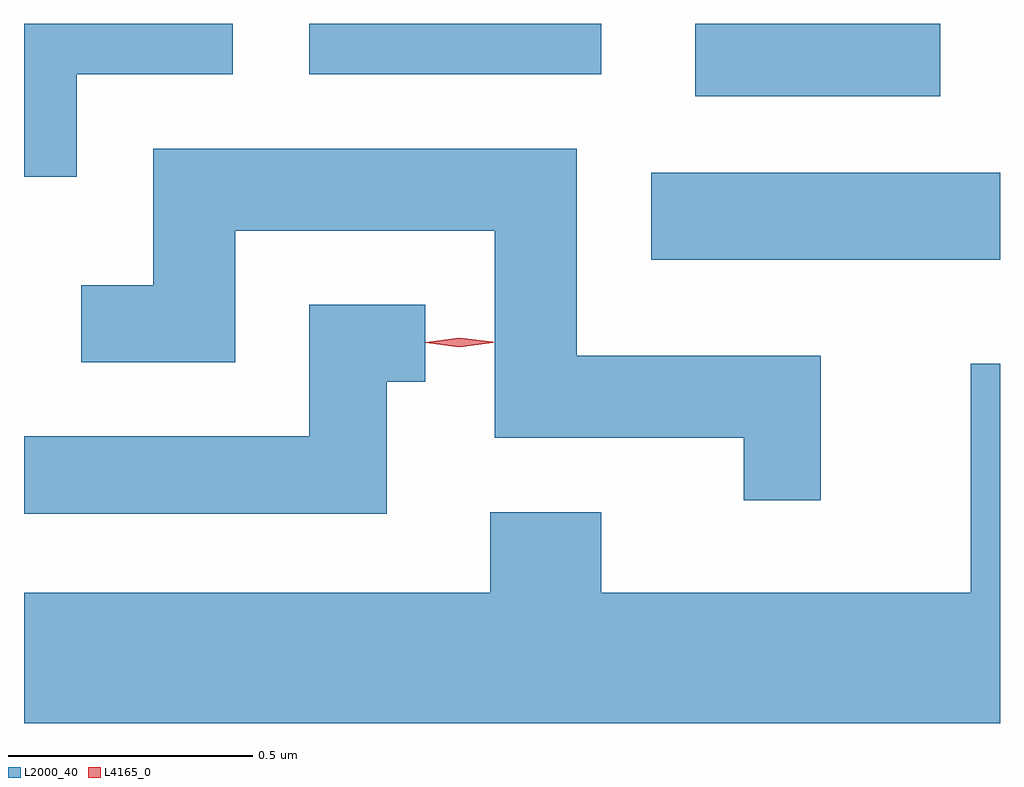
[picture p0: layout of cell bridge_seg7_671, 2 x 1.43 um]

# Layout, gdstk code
import gdstk
lib = gdstk.Library(unit=1e-6, precision=1e-09)
def R(c, l, rs):  # rectangles x0, y0, x1, y1
    for r in rs: c.add(gdstk.rectangle(r[:2], r[2:], *l))
def P(c, l, *ps):  # polygons
    for p in ps: c.add(gdstk.Polygon(p, *l))
L2000_40 = (2000, 40)
L4165_0 = (4165, 0)

bridge_seg7_671 = lib.new_cell('bridge_seg7_671')
R(bridge_seg7_671, L2000_40, [(863.511,1679.746,864.226,1679.924), (863.601,1680.081,864.104,1680.23), (862.811,1680.126,863.409,1680.23)])
P(bridge_seg7_671, L2000_40, [(862.334,1680.126),(862.654,1680.126),(862.654,1680.23),(862.226,1680.23),(862.226,1679.916),(862.334,1679.916)],
  [(863.859,1679.549),(863.359,1679.549),(863.359,1679.974),(862.491,1679.974),(862.491,1679.694),(862.343,1679.694),(862.343,1679.536),(862.659,1679.536),(862.659,1679.806),(863.191,1679.806),(863.191,1679.381),(863.701,1679.381),(863.701,1679.253),(863.859,1679.253)],
  [(862.969,1679.496),(863.048,1679.496),(863.048,1679.654),(862.811,1679.654),(862.811,1679.384),(862.226,1679.384),(862.226,1679.226),(862.969,1679.226)],
  [(864.226,1679.533),(864.166,1679.533),(864.166,1679.064),(863.409,1679.064),(863.409,1679.229),(863.181,1679.229),(863.181,1679.064),(862.226,1679.064),(862.226,1678.796),(864.226,1678.796)])
P(bridge_seg7_671, L4165_0, [(863.118,1679.567),(863.049,1679.576),(863.049,1679.576),(863.049,1679.577),(863.118,1679.586),(863.188,1679.578),(863.188,1679.577),(863.188,1679.576)])

lib.write_gds('bridge_seg7_671.gds')
